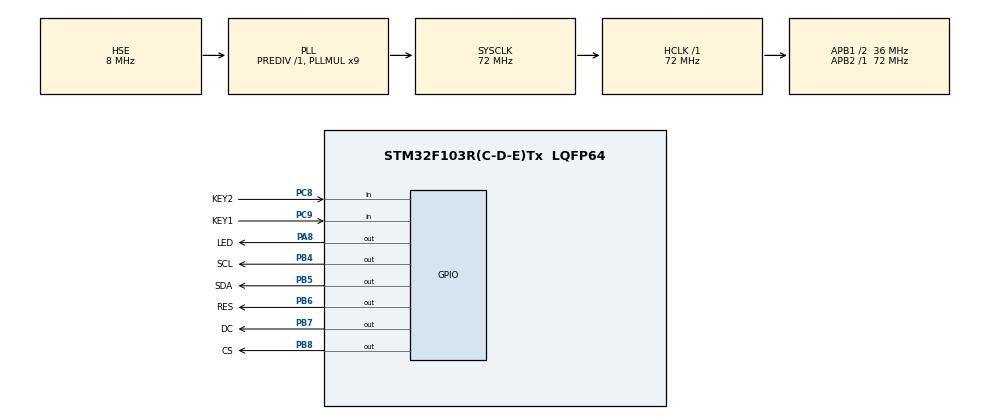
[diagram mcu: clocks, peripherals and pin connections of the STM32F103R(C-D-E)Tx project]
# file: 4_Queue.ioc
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FREERTOS.Tasks01=defaultTask,0,128,StartDefaultTask,Default,NULL,Dynamic,NULL,NULL
Mcu.Family=STM32F1
Mcu.Name=STM32F103R(C-D-E)Tx
Mcu.Package=LQFP64
NVIC.PriorityGroup=NVIC_PRIORITYGROUP_4
NVIC.TIM8_UP_IRQn=true\:15\:0\:false\:false\:true\:false\:false\:true\:true
NVIC.TimeBase=TIM8_UP_IRQn
NVIC.TimeBaseIP=TIM8
PA13.Mode=Serial_Wire
PA13.Signal=SYS_JTMS-SWDIO
PA14.Mode=Serial_Wire
PA14.Signal=SYS_JTCK-SWCLK
PA8.GPIO_Label=LED
PA8.Signal=GPIO_Output
PB4.GPIO_Label=SCL
PB4.GPIO_Speed=GPIO_SPEED_FREQ_HIGH
PB4.Signal=GPIO_Output
PB5.GPIO_Label=SDA
PB5.GPIO_Speed=GPIO_SPEED_FREQ_HIGH
PB5.Signal=GPIO_Output
PB6.GPIO_Label=RES
PB6.GPIO_Speed=GPIO_SPEED_FREQ_HIGH
PB6.Signal=GPIO_Output
PB7.GPIO_Label=DC
PB7.GPIO_Speed=GPIO_SPEED_FREQ_HIGH
PB7.Signal=GPIO_Output
PB8.GPIO_Label=CS
PB8.GPIO_Speed=GPIO_SPEED_FREQ_HIGH
PB8.Signal=GPIO_Output
PC8.GPIO_Label=KEY2
PC8.GPIO_PuPd=GPIO_PULLUP
PC8.Signal=GPIO_Input
PC9.GPIO_Label=KEY1
PC9.GPIO_PuPd=GPIO_PULLUP
PC9.Signal=GPIO_Input
PD0-OSC_IN.Mode=HSE-External-Oscillator
PD0-OSC_IN.Signal=RCC_OSC_IN
PD1-OSC_OUT.Mode=HSE-External-Oscillator
PD1-OSC_OUT.Signal=RCC_OSC_OUT
ProjectManager.HeapSize=0x200
ProjectManager.StackSize=0x400
ProjectManager.TargetToolchain=Makefile
RCC.AHBFreq_Value=72000000
RCC.APB1CLKDivider=RCC_HCLK_DIV2
RCC.APB1Freq_Value=36000000
RCC.APB1TimFreq_Value=72000000
RCC.APB2Freq_Value=72000000
RCC.APB2TimFreq_Value=72000000
RCC.HCLKFreq_Value=72000000
RCC.PLLMUL=RCC_PLL_MUL9
RCC.PLLSourceVirtual=RCC_PLLSOURCE_HSE
RCC.SYSCLKFreq_VALUE=72000000
RCC.SYSCLKSource=RCC_SYSCLKSOURCE_PLLCLK
RCC.USBFreq_Value=72000000
VP_FREERTOS_VS_CMSIS_V1.Mode=CMSIS_V1
VP_SYS_VS_tim8.Mode=TIM8
board=custom

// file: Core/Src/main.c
/* USER CODE BEGIN Header */
/**
 ******************************************************************************
 * @file           : main.c
 * @brief          : Main program body
 ******************************************************************************
 * @attention
 *
 * Copyright (c) 2023 STMicroelectronics.
 * All rights reserved.
 *
 * This software is licensed under terms that can be found in the LICENSE file
 * in the root directory of this software component.
 * If no LICENSE file comes with this software, it is provided AS-IS.
 *
 ******************************************************************************
 */
/* USER CODE END Header */
#include "main.h"
#include "cmsis_os.h"
#include "gpio.h"

/* USER CODE BEGIN Includes */
#include "oled.h"
/* USER CODE END Includes */

void SystemClock_Config(void);
void MX_FREERTOS_Init(void);

int main(void)
{

    /* MCU Configuration--------------------------------------------------------*/

    /* Reset of all peripherals, Initializes the Flash interface and the Systick. */
    HAL_Init();

    /* Configure the system clock */
    SystemClock_Config();

    /* Initialize all configured peripherals */
    MX_GPIO_Init();
    /* USER CODE BEGIN 2 */
    OLED_Init();
    /* USER CODE END 2 */

    /* Call init function for freertos objects (in freertos.c) */
    MX_FREERTOS_Init();

    /* Start scheduler */
    osKernelStart();

    /* We should never get here as control is now taken by the scheduler */
    /* Infinite loop */
    while (1) {

    }
}

void SystemClock_Config(void)
{
    RCC_OscInitTypeDef RCC_OscInitStruct = {0};
    RCC_ClkInitTypeDef RCC_ClkInitStruct = {0};

    /** Initializes the RCC Oscillators according to the specified parameters
     * in the RCC_OscInitTypeDef structure.
     */
    RCC_OscInitStruct.OscillatorType = RCC_OSCILLATORTYPE_HSE;
    RCC_OscInitStruct.HSEState       = RCC_HSE_ON;
    RCC_OscInitStruct.HSEPredivValue = RCC_HSE_PREDIV_DIV1;
    RCC_OscInitStruct.HSIState       = RCC_HSI_ON;
    RCC_OscInitStruct.PLL.PLLState   = RCC_PLL_ON;
    RCC_OscInitStruct.PLL.PLLSource  = RCC_PLLSOURCE_HSE;
    RCC_OscInitStruct.PLL.PLLMUL     = RCC_PLL_MUL9;
    if (HAL_RCC_OscConfig(&RCC_OscInitStruct) != HAL_OK) {
        Error_Handler();
    }

    /** Initializes the CPU, AHB and APB buses clocks
     */
    RCC_ClkInitStruct.ClockType      = RCC_CLOCKTYPE_HCLK | RCC_CLOCKTYPE_SYSCLK | RCC_CLOCKTYPE_PCLK1 | RCC_CLOCKTYPE_PCLK2;
    RCC_ClkInitStruct.SYSCLKSource   = RCC_SYSCLKSOURCE_PLLCLK;
    RCC_ClkInitStruct.AHBCLKDivider  = RCC_SYSCLK_DIV1;
    RCC_ClkInitStruct.APB1CLKDivider = RCC_HCLK_DIV2;
    RCC_ClkInitStruct.APB2CLKDivider = RCC_HCLK_DIV1;

    if (HAL_RCC_ClockConfig(&RCC_ClkInitStruct, FLASH_LATENCY_2) != HAL_OK) {
        Error_Handler();
    }
}

void HAL_TIM_PeriodElapsedCallback(TIM_HandleTypeDef *htim)
{
    if (htim->Instance == TIM8) {
        HAL_IncTick();
    }
}

void Error_Handler(void)
{
    __disable_irq();
    while (1) {
    }
}

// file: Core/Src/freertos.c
/* USER CODE BEGIN Header */
/**
 ******************************************************************************
 * File Name          : freertos.c
 * Description        : Code for freertos applications
 ******************************************************************************
 * @attention
 *
 * Copyright (c) 2023 STMicroelectronics.
 * All rights reserved.
 *
 * This software is licensed under terms that can be found in the LICENSE file
 * in the root directory of this software component.
 * If no LICENSE file comes with this software, it is provided AS-IS.
 *
 ******************************************************************************
 */
/* USER CODE END Header */

#include "FreeRTOS.h"
#include "task.h"
#include "main.h"
#include "cmsis_os.h"

/* USER CODE BEGIN Includes */
#include "key.h"
#include "oled.h"
#include "string.h"
/* USER CODE END Includes */

/* USER CODE BEGIN PTD */
typedef struct Message {
    uint8_t value;
    char buf[15];
} Msg;

/* USER CODE END PTD */

/* USER CODE BEGIN PM */
/* 存放队列句柄 */
osMessageQId xmsgqID;
/* USER CODE END PM */

/* USER CODE BEGIN Variables */
/* 任务句柄 */
osThreadId OLED_Task_Handle;
osThreadId LED_Task_Handle;
osThreadId Key_Task_Handle;
/* USER CODE END Variables */
osThreadId defaultTaskHandle;

/* USER CODE BEGIN FunctionPrototypes */
/* 自定义任务 */
void OLED_Task(void const *argument);
void LED_Task(void const *argument);
void Key_Task(void const *argument);
/* USER CODE END FunctionPrototypes */

void StartDefaultTask(void const *argument);

void MX_FREERTOS_Init(void); /* (MISRA C 2004 rule 8.1) */

/* GetIdleTaskMemory prototype (linked to static allocation support) */
void vApplicationGetIdleTaskMemory(StaticTask_t **ppxIdleTaskTCBBuffer, StackType_t **ppxIdleTaskStackBuffer, uint32_t *pulIdleTaskStackSize);

/* USER CODE BEGIN GET_IDLE_TASK_MEMORY */
static StaticTask_t xIdleTaskTCBBuffer;
static StackType_t xIdleStack[configMINIMAL_STACK_SIZE];

void vApplicationGetIdleTaskMemory(StaticTask_t **ppxIdleTaskTCBBuffer, StackType_t **ppxIdleTaskStackBuffer, uint32_t *pulIdleTaskStackSize)
{
    *ppxIdleTaskTCBBuffer   = &xIdleTaskTCBBuffer;
    *ppxIdleTaskStackBuffer = &xIdleStack[0];
    *pulIdleTaskStackSize   = configMINIMAL_STACK_SIZE;
    /* place for user code */
}
/* USER CODE END GET_IDLE_TASK_MEMORY */

void MX_FREERTOS_Init(void)
{

    /* USER CODE BEGIN RTOS_QUEUES */
    /* add queues, ... */
    osMessageQDef(msgq, 10, Msg *);
    xmsgqID = osMessageCreate(osMessageQ(msgq), NULL);
    /* USER CODE END RTOS_QUEUES */

    /* Create the thread(s) */
    /* definition and creation of defaultTask */
    osThreadDef(defaultTask, StartDefaultTask, osPriorityNormal, 0, 128);
    defaultTaskHandle = osThreadCreate(osThread(defaultTask), NULL);

    /* USER CODE BEGIN RTOS_THREADS */
    /* add threads, ... */
    /* 自定义任务 */
    osThreadDef(OLEDTask, OLED_Task, osPriorityNormal, 0, 128);
    OLED_Task_Handle = osThreadCreate(osThread(OLEDTask), NULL);

    osThreadDef(LEDTask, LED_Task, osPriorityNormal, 0, 128);
    LED_Task_Handle = osThreadCreate(osThread(LEDTask), NULL);

    osThreadDef(KeyTask, Key_Task, osPriorityNormal, 0, 128);
    Key_Task_Handle = osThreadCreate(osThread(KeyTask), NULL);
    /* USER CODE END RTOS_THREADS */
}

void StartDefaultTask(void const *argument)
{
    for (;;) {
        osDelay(1);
    }
}

/* USER CODE BEGIN Application */
/**
 * @brief 按键任务---消息队列发送
 */
void Key_Task(void const *argument)
{
    osStatus ret_status;
    Msg msg;
    uint8_t key_value;
    for (;;) {
        key_value = Key_Scan();
        if (key_value != 0) {
            msg.value = key_value;
            strcpy(msg.buf, "key1");
            ret_status = osMessagePut(xmsgqID, (uint32_t)&msg, 0);
            if (ret_status != osOK) {
                OLED_ShowString(0, 7, (char *)("Error!"), 6, 0);
            }
        }
        osDelay(200);
    }
}

/**
 * @brief LED任务---消息队列接收
 */
void LED_Task(void const *argument)
{
    osEvent event;
    static uint8_t flag = 0;
    Msg *rx_msg         = NULL;
    for (;;) {
        event = osMessageGet(xmsgqID, osWaitForever);
        if (event.status == osEventMessage) {
            rx_msg = (Msg *)event.value.p;
            OLED_ShowString(0, 3, (char *)(&(rx_msg->value)), 6, 0);
            if (rx_msg->value == 1) {
                if (flag == 0) {
                    HAL_GPIO_WritePin(GPIOA, GPIO_PIN_8, GPIO_PIN_SET);
                    flag = 1;
                } else if (flag == 1) {
                    HAL_GPIO_WritePin(GPIOA, GPIO_PIN_8, GPIO_PIN_RESET);
                    flag = 0;
                }
            }
        }
    }
    osDelay(200);
}

void OLED_Task(void const *argument)
{
    for (;;) {
        OLED_ShowString(0, 0, (char *)("Running"), 6, 0);
        osDelay(200);
    }
}
/* USER CODE END Application */
